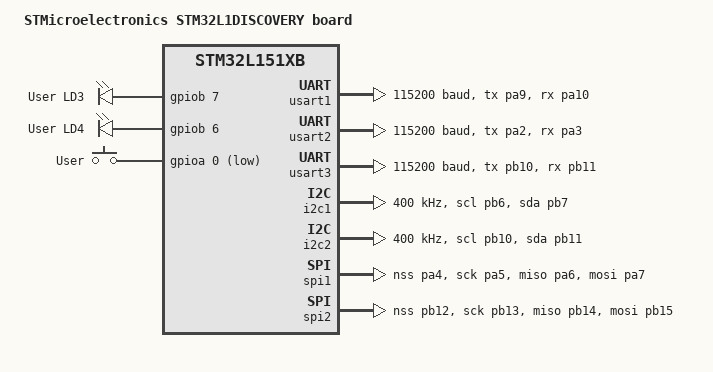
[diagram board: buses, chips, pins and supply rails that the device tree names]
/*
 * Copyright (c) 2019 eTactica ehf
 *
 * SPDX-License-Identifier: Apache-2.0
 */

/dts-v1/;
#include <st/l1/stm32l151Xb.dtsi>
#include <st/l1/stm32l152r(6-8-b)tx-pinctrl.dtsi>

/ {
	model = "STMicroelectronics STM32L1DISCOVERY board";
	compatible = "st,stm32l1discovery";

	chosen {
		zephyr,console = &usart1;
		zephyr,shell-uart = &usart1;
		zephyr,sram = &sram0;
		zephyr,flash = &flash0;
	};

	leds {
		compatible = "gpio-leds";
		green_led: ld3 {
			gpios = <&gpiob 7 GPIO_ACTIVE_HIGH>;
			label = "User LD3";
		};
		blue_led: ld4 {
			gpios = <&gpiob 6 GPIO_ACTIVE_HIGH>;
			label = "User LD4";
		};
	};

	gpio_keys {
		compatible = "gpio-keys";
		user_button: button {
			label = "User";
			gpios = <&gpioa 0 GPIO_ACTIVE_LOW>;
		};
	};

	aliases {
		led0 = &green_led;
		led1 = &blue_led;
		sw0 = &user_button;
	};
};

&usart1 {
	pinctrl-0 = <&usart1_tx_pa9 &usart1_rx_pa10>;
	current-speed = <115200>;
	status = "okay";
};

&usart2 {
	pinctrl-0 = <&usart2_tx_pa2 &usart2_rx_pa3>;
	current-speed = <115200>;
	status = "okay";
};

&usart3 {
	pinctrl-0 = <&usart3_tx_pb10 &usart3_rx_pb11>;
	current-speed = <115200>;
	status = "okay";
};

&i2c1 {
	pinctrl-0 = <&i2c1_scl_pb6 &i2c1_sda_pb7>;
	status = "okay";
	clock-frequency = <I2C_BITRATE_FAST>;
};

&i2c2 {
	pinctrl-0 = <&i2c2_scl_pb10 &i2c2_sda_pb11>;
	status = "okay";
	clock-frequency = <I2C_BITRATE_FAST>;
};

&spi1 {
	pinctrl-0 = <&spi1_nss_pa4 &spi1_sck_pa5
		     &spi1_miso_pa6 &spi1_mosi_pa7>;
	status = "okay";
};

&spi2 {
	pinctrl-0 = <&spi2_nss_pb12 &spi2_sck_pb13
		     &spi2_miso_pb14 &spi2_mosi_pb15>;
	status = "okay";
};
